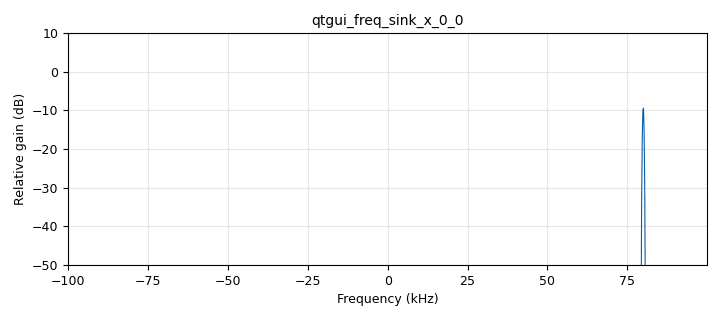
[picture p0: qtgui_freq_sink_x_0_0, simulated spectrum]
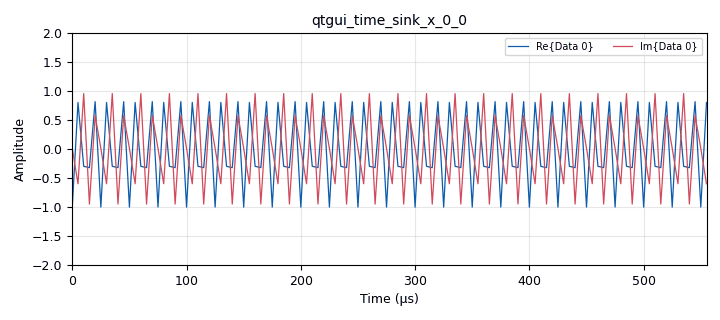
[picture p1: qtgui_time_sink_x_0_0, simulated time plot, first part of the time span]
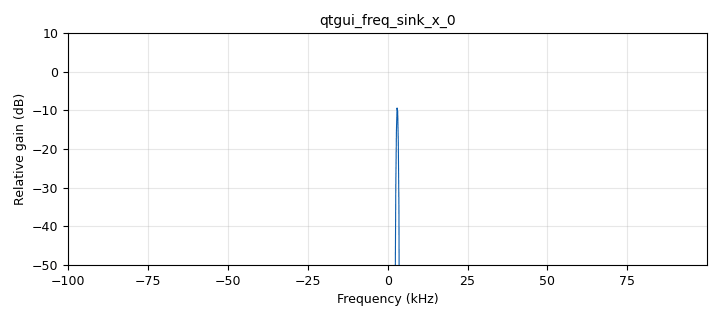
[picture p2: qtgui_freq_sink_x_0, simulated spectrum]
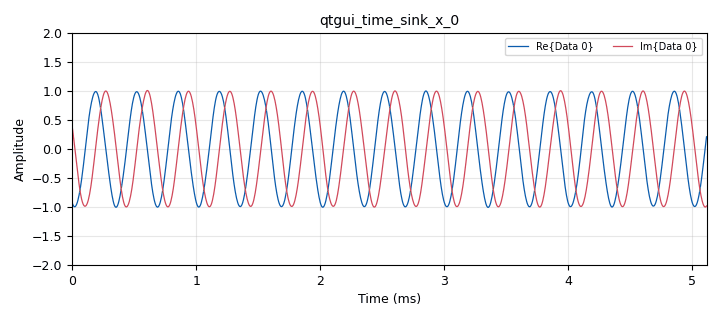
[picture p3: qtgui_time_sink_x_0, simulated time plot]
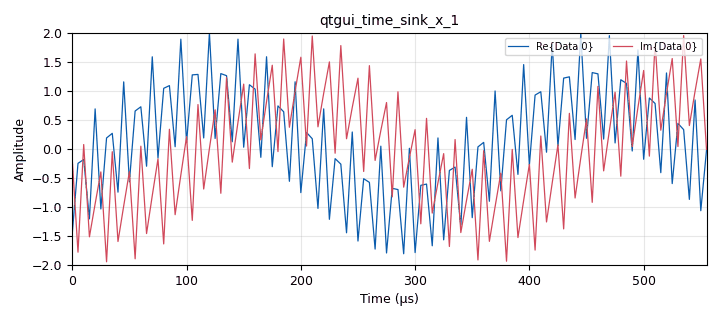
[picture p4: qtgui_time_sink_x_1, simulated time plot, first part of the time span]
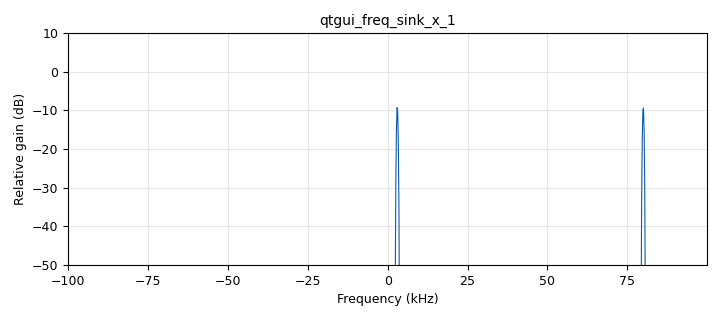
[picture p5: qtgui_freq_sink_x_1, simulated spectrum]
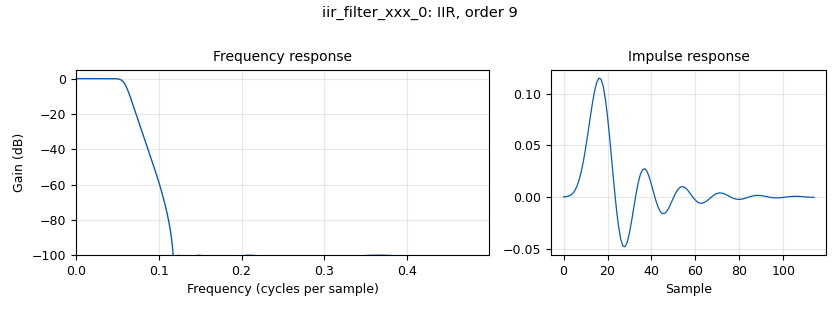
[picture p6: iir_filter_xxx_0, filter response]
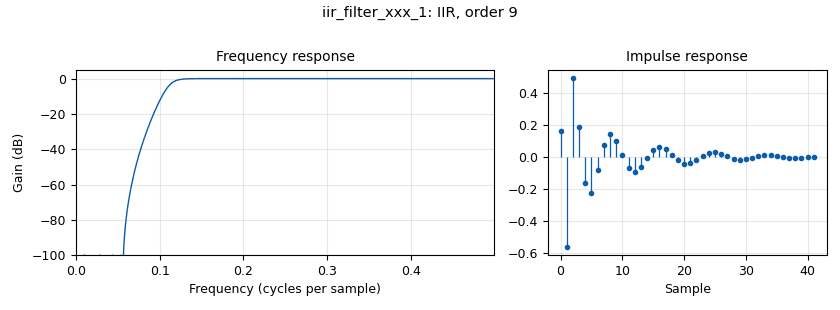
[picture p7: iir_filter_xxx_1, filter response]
<?xml version='1.0' encoding='utf-8'?>
<?grc format='1' created='3.7.5'?>
<flow_graph>
<block>
<key>qtgui_tab_widget</key>
<param><key>id</key><value>aba</value></param>
<param><key>num_tabs</key><value>3</value></param>
<param><key>label0</key><value>Sinal Original</value></param>
<param><key>label1</key><value>Sinal filtrado(passa-baixa)</value></param>
<param><key>label2</key><value>Sinal filtrado(passa-alta)</value></param>
</block>
<block>
<key>variable</key>
<param><key>id</key><value>samp_rate</value></param>
<param><key>value</key><value>200000</value></param>
</block>
<block>
<key>iir_filter_xxx</key>
<param><key>id</key><value>iir_filter_xxx_0</value></param>
<param><key>type</key><value>ccc</value></param>
<param><key>fftaps</key><value>[4.870411598908368e-05, -0.00012194370475796957, 0.00020422593315485218, -0.00017299565455381125, 8.285404692604178e-05, 8.285404692604113e-05, -0.0001729956545538112, 0.0002042259331548511, -0.00012194370475796867, 4.8704115989083294e-05]</value></param>
<param><key>fbtaps</key><value> [1.0, -6.787189336146623, 20.692637954301972, -37.15124963789964, 43.24783048924981, -33.82667700271067, 17.765922373901653, -6.038437833736955, 1.2046827510152989, -0.10743806850137148]</value></param>
<param><key>oldstyle</key><value>False</value></param>
</block>
<block>
<key>iir_filter_xxx</key>
<param><key>id</key><value>iir_filter_xxx_1</value></param>
<param><key>type</key><value>ccf</value></param>
<param><key>fftaps</key><value>[0.16085858938612674, -1.4024133779525074, 5.47797781418482, -12.581710087137715, 18.724408954254734, -18.724408954254763, 12.581710087137736, -5.4779778141848325, 1.4024133779525114, -0.16085858938612724]</value></param>
<param><key>fbtaps</key><value> [1.0, -5.219442877253423, 12.732584843630407, -18.846103655885024, 18.533974908299083, -12.503451671558176, 5.767513970078849, -1.749665375151363, 0.3161248583182045, -0.02587548565710937]</value></param>
<param><key>oldstyle</key><value>False</value></param>
</block>
<block>
<key>blocks_add_xx</key>
<param><key>id</key><value>blocks_add_xx_0</value></param>
<param><key>type</key><value>complex</value></param>
</block>
<block>
<key>analog_sig_source_x</key>
<param><key>id</key><value>analog_sig_source_x_0</value></param>
<param><key>type</key><value>complex</value></param>
<param><key>samp_rate</key><value>samp_rate</value></param>
<param><key>waveform</key><value>analog.GR_COS_WAVE</value></param>
<param><key>freq</key><value>3000</value></param>
<param><key>amp</key><value>1</value></param>
<param><key>offset</key><value>0</value></param>
</block>
<block>
<key>analog_sig_source_x</key>
<param><key>id</key><value>analog_sig_source_x_1</value></param>
<param><key>type</key><value>complex</value></param>
<param><key>samp_rate</key><value>samp_rate</value></param>
<param><key>waveform</key><value>analog.GR_COS_WAVE</value></param>
<param><key>freq</key><value>80000</value></param>
<param><key>amp</key><value>1</value></param>
<param><key>offset</key><value>0</value></param>
</block>
<block>
<key>options</key>
<param><key>id</key><value>top_block</value></param>
<param><key>generate_options</key><value>qt_gui</value></param>
<param><key>category</key><value>Custom</value></param>
</block>
<block>
<key>qtgui_freq_sink_x</key>
<param><key>id</key><value>qtgui_freq_sink_x_0_0</value></param>
<param><key>type</key><value>complex</value></param>
<param><key>fftsize</key><value>1024</value></param>
<param><key>wintype</key><value>firdes.WIN_BLACKMAN_hARRIS</value></param>
<param><key>fc</key><value>0</value></param>
<param><key>bw</key><value>samp_rate</value></param>
<param><key>ymin</key><value>-50</value></param>
<param><key>gui_hint</key><value>aba@2:1,1</value></param>
<param><key>showports</key><value>True</value></param>
</block>
<block>
<key>qtgui_time_sink_x</key>
<param><key>id</key><value>qtgui_time_sink_x_0_0</value></param>
<param><key>type</key><value>complex</value></param>
<param><key>size</key><value>1024</value></param>
<param><key>srate</key><value>samp_rate</value></param>
<param><key>ymin</key><value>-2</value></param>
<param><key>ymax</key><value>2</value></param>
<param><key>update_time</key><value>0.1</value></param>
<param><key>gui_hint</key><value>aba@2:1,0</value></param>
<param><key>label1</key><value></value></param>
<param><key>color1</key><value>"blue"</value></param>
<param><key>label2</key><value></value></param>
<param><key>color2</key><value>"red"</value></param>
</block>
<block>
<key>qtgui_freq_sink_x</key>
<param><key>id</key><value>qtgui_freq_sink_x_0</value></param>
<param><key>type</key><value>complex</value></param>
<param><key>fftsize</key><value>1024</value></param>
<param><key>wintype</key><value>firdes.WIN_BLACKMAN_hARRIS</value></param>
<param><key>fc</key><value>0</value></param>
<param><key>bw</key><value>samp_rate</value></param>
<param><key>ymin</key><value>-50</value></param>
<param><key>gui_hint</key><value>aba@1:1,1</value></param>
<param><key>showports</key><value>True</value></param>
</block>
<block>
<key>qtgui_time_sink_x</key>
<param><key>id</key><value>qtgui_time_sink_x_0</value></param>
<param><key>type</key><value>complex</value></param>
<param><key>size</key><value>1024</value></param>
<param><key>srate</key><value>samp_rate</value></param>
<param><key>ymin</key><value>-2</value></param>
<param><key>ymax</key><value>2</value></param>
<param><key>gui_hint</key><value>aba@1:1,0</value></param>
<param><key>label1</key><value></value></param>
<param><key>color1</key><value>"blue"</value></param>
<param><key>label2</key><value></value></param>
<param><key>color2</key><value>"red"</value></param>
</block>
<block>
<key>qtgui_time_sink_x</key>
<param><key>id</key><value>qtgui_time_sink_x_1</value></param>
<param><key>type</key><value>complex</value></param>
<param><key>size</key><value>1024</value></param>
<param><key>srate</key><value>samp_rate</value></param>
<param><key>ymin</key><value>-2</value></param>
<param><key>ymax</key><value>2</value></param>
<param><key>gui_hint</key><value>aba@0:1,0</value></param>
<param><key>label1</key><value></value></param>
<param><key>color1</key><value>"blue"</value></param>
<param><key>label2</key><value></value></param>
<param><key>color2</key><value>"red"</value></param>
</block>
<block>
<key>qtgui_freq_sink_x</key>
<param><key>id</key><value>qtgui_freq_sink_x_1</value></param>
<param><key>type</key><value>complex</value></param>
<param><key>fftsize</key><value>1024</value></param>
<param><key>wintype</key><value>firdes.WIN_BLACKMAN_hARRIS</value></param>
<param><key>fc</key><value>0</value></param>
<param><key>bw</key><value>samp_rate</value></param>
<param><key>ymin</key><value>-50</value></param>
<param><key>gui_hint</key><value>aba@0:1,1</value></param>
<param><key>showports</key><value>True</value></param>
</block>
<connection><source_block_id>analog_sig_source_x_0</source_block_id><sink_block_id>blocks_add_xx_0</sink_block_id><source_key>0</source_key><sink_key>0</sink_key></connection>
<connection><source_block_id>analog_sig_source_x_1</source_block_id><sink_block_id>blocks_add_xx_0</sink_block_id><source_key>0</source_key><sink_key>1</sink_key></connection>
<connection><source_block_id>blocks_add_xx_0</source_block_id><sink_block_id>iir_filter_xxx_0</sink_block_id><source_key>0</source_key><sink_key>0</sink_key></connection>
<connection><source_block_id>blocks_add_xx_0</source_block_id><sink_block_id>iir_filter_xxx_1</sink_block_id><source_key>0</source_key><sink_key>0</sink_key></connection>
<connection><source_block_id>iir_filter_xxx_1</source_block_id><sink_block_id>qtgui_freq_sink_x_0_0</sink_block_id><source_key>0</source_key><sink_key>0</sink_key></connection>
<connection><source_block_id>iir_filter_xxx_1</source_block_id><sink_block_id>qtgui_time_sink_x_0_0</sink_block_id><source_key>0</source_key><sink_key>0</sink_key></connection>
<connection><source_block_id>iir_filter_xxx_0</source_block_id><sink_block_id>qtgui_freq_sink_x_0</sink_block_id><source_key>0</source_key><sink_key>0</sink_key></connection>
<connection><source_block_id>iir_filter_xxx_0</source_block_id><sink_block_id>qtgui_time_sink_x_0</sink_block_id><source_key>0</source_key><sink_key>0</sink_key></connection>
<connection><source_block_id>blocks_add_xx_0</source_block_id><sink_block_id>qtgui_freq_sink_x_1</sink_block_id><source_key>0</source_key><sink_key>0</sink_key></connection>
<connection><source_block_id>blocks_add_xx_0</source_block_id><sink_block_id>qtgui_time_sink_x_1</sink_block_id><source_key>0</source_key><sink_key>0</sink_key></connection>
</flow_graph>
